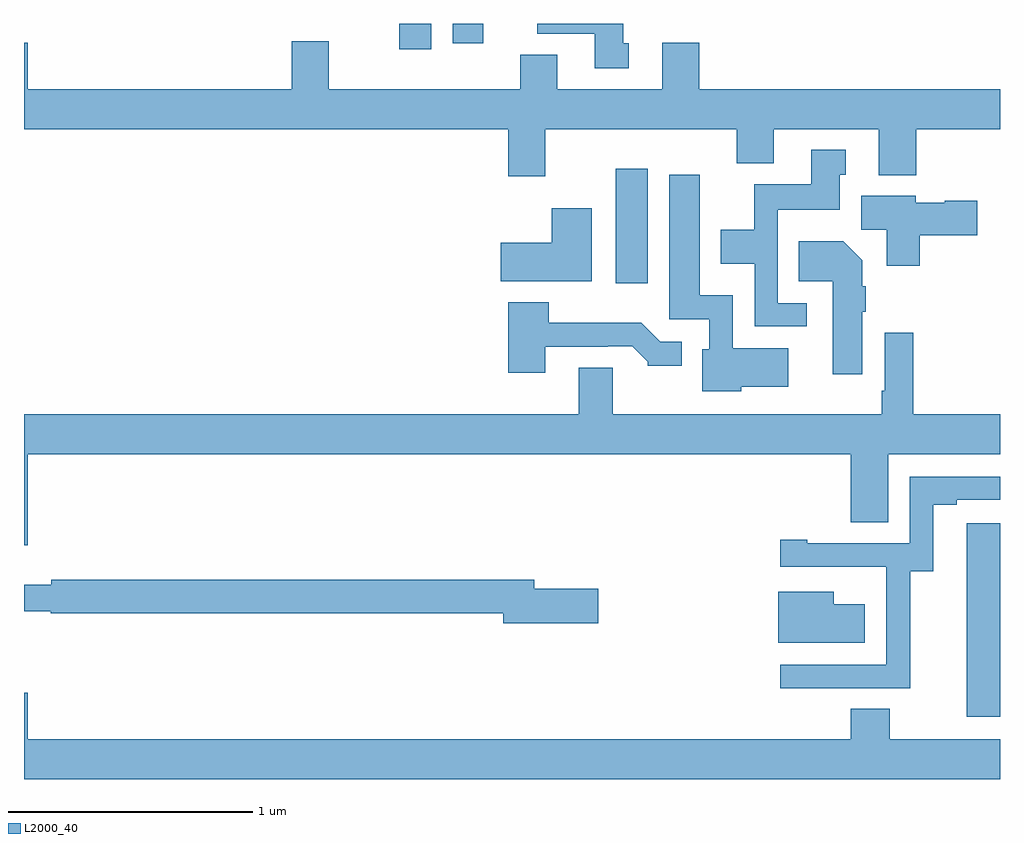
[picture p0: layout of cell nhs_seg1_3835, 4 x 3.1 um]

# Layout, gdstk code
import gdstk
lib = gdstk.Library(unit=1e-6, precision=1e-09)
def R(c, l, rs):  # rectangles x0, y0, x1, y1
    for r in rs: c.add(gdstk.rectangle(r[:2], r[2:], *l))
def P(c, l, *ps):  # polygons
    for p in ps: c.add(gdstk.Polygon(p, *l))
L2000_40 = (2000, 40)

nhs_seg1_3835 = lib.new_cell('nhs_seg1_3835')
R(nhs_seg1_3835, L2000_40, [(324.863,513.36,325,514.153), (323.426,515.136,323.557,515.605), (322.538,516.096,322.669,516.199), (322.757,516.12,322.882,516.199)])
P(nhs_seg1_3835, L2000_40, [(323.479,516.12),(323.455,516.12),(323.455,516.199),(323.104,516.199),(323.104,516.158),(323.339,516.158),(323.339,516.018),(323.479,516.018)],
  [(323.137,515.768),(323.921,515.768),(323.921,515.627),(324.073,515.627),(324.073,515.768),(324.503,515.768),(324.503,515.579),(324.656,515.579),(324.656,515.768),(325,515.768),(325,515.932),(323.768,515.932),(323.768,516.121),(323.615,516.121),(323.615,515.932),(323.185,515.932),(323.185,516.073),(323.033,516.073),(323.033,515.932),(322.249,515.932),(322.249,516.127),(322.097,516.127),(322.097,515.932),(321.016,515.932),(321.016,516.121),(321,516.121),(321,515.768),(322.985,515.768),(322.985,515.574),(323.137,515.574)],
  [(324.208,515.055),(324.09,515.055),(324.09,515.438),(324.343,515.438),(324.343,515.58),(324.367,515.58),(324.367,515.683),(324.227,515.683),(324.227,515.542),(323.992,515.542),(323.992,515.356),(323.855,515.356),(323.855,515.216),(323.994,515.216),(323.994,514.959),(324.208,514.959)],
  [(323.94,514.712),(324.133,514.712),(324.133,514.87),(323.904,514.87),(323.904,515.086),(323.77,515.086),(323.77,515.581),(323.645,515.581),(323.645,514.989),(323.808,514.989),(323.808,514.866),(323.78,514.866),(323.78,514.694),(323.94,514.694)],
  [(324.671,515.333),(324.907,515.333),(324.907,515.475),(324.774,515.475),(324.774,515.467),(324.654,515.467),(324.654,515.494),(324.431,515.494),(324.431,515.356),(324.536,515.356),(324.536,515.208),(324.671,515.208)],
  [(323.326,515.443),(323.162,515.443),(323.162,515.302),(322.953,515.302),(322.953,515.144),(323.326,515.144)],
  [(324.436,515.02),(324.449,515.02),(324.449,515.123),(324.436,515.123),(324.436,515.23),(324.358,515.308),(324.175,515.308),(324.175,515.144),(324.314,515.144),(324.314,514.764),(324.436,514.764)],
  [(323.137,514.875),(323.393,514.875),(323.393,514.878),(323.492,514.878),(323.556,514.814),(323.556,514.799),(323.695,514.799),(323.695,514.896),(323.607,514.896),(323.529,514.975),(323.15,514.975),(323.15,515.059),(322.985,515.059),(322.985,514.77),(323.137,514.77)],
  [(321.016,514.436),(324.389,514.436),(324.389,514.156),(324.541,514.156),(324.541,514.436),(325,514.436),(325,514.6),(324.644,514.6),(324.644,514.933),(324.528,514.933),(324.528,514.696),(324.516,514.696),(324.516,514.6),(323.413,514.6),(323.413,514.79),(323.273,514.79),(323.273,514.6),(321,514.6),(321,514.062),(321.016,514.062)],
  [(324.633,513.955),(324.727,513.955),(324.727,514.228),(324.823,514.228),(324.823,514.248),(325,514.248),(325,514.344),(324.63,514.344),(324.63,514.071),(324.211,514.071),(324.211,514.084),(324.099,514.084),(324.099,513.975),(324.533,513.975),(324.533,513.974),(324.534,513.974),(324.534,513.573),(324.099,513.573),(324.099,513.477),(324.633,513.477)],
  [(323.353,513.884),(323.092,513.884),(323.092,513.92),(321.112,513.92),(321.112,513.901),(321,513.901),(321,513.792),(321.11,513.792),(321.11,513.784),(322.964,513.784),(322.964,513.742),(323.353,513.742)],
  [(324.445,513.82),(324.319,513.82),(324.319,513.871),(324.092,513.871),(324.092,513.662),(324.445,513.662)],
  [(325,513.268),(324.549,513.268),(324.549,513.392),(324.389,513.392),(324.389,513.268),(321.016,513.268),(321.016,513.457),(321,513.457),(321,513.104),(325,513.104)])

lib.write_gds('nhs_seg1_3835.gds')
